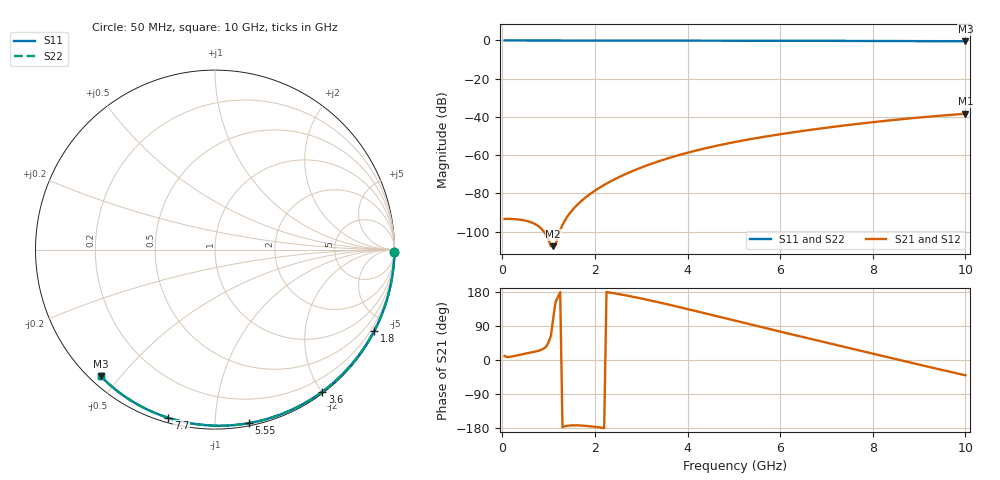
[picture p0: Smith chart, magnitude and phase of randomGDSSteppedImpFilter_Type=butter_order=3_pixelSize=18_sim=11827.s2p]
! freq	dB(S11)	phase(S11)	dB(S12)	phase(S12)
!  dB(S21)	phase(S21)	dB(S22)	phase(S22)
!S-par simulation data
#  GHz  S  DB  R 50
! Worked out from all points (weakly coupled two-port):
!   200 points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, 50 MHz to 10 GHz, reference 50 ohm
!   highest |S21| = -38.35 dB at 10 GHz (marker M1); lowest = -107.7 dB at 1.1 GHz (marker M2)
!   lowest |S11| = -0.4 dB at 10 GHz (marker M3), VSWR 39.19, Z = 1.53 - j22.3 ohm
!   |S11| at or under -10 dB: nowhere
!   |S22| runs from -0.4 to 0.0 dB; largest |S21 - S12| = 0
!   S11 on the Smith chart (normalised r, x): 50 MHz: open; 1.8 GHz: 0.04, -4.16; 3.6 GHz: 0.02, -2.01; 5.55 GHz: 0.02, -1.21; 7.7 GHz: 0.02, -0.76; 10 GHz: 0.03, -0.45
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0.05  -0.00 -0.8  -93.40 10.5  -93.40 10.5  -0.00 -0.7
0.55  -0.01 -8.3  -94.60 18.0  -94.60 18.0  -0.01 -8.3
1.1  -0.02 -16.6  -107.66 109.8  -107.66 109.8  -0.02 -16.6
1.75  -0.03 -26.3  -83.12 -173.3  -83.12 -173.3  -0.03 -26.3
1.8  -0.03 -27.0  -82.12 -173.8  -82.12 -173.8  -0.03 -27.0
1.9  -0.04 -28.5  -80.29 -174.9  -80.29 -174.9  -0.04 -28.5
1.95  -0.04 -29.2  -79.43 -175.6  -79.43 -175.6  -0.04 -29.2
2.25  -0.04 -33.6  -74.91 179.4  -74.91 179.4  -0.04 -33.6
2.55  -0.05 -38.0  -71.17 173.2  -71.17 173.2  -0.05 -38.0
2.95  -0.06 -43.7  -66.98 163.6  -66.98 163.6  -0.06 -43.7
3.4  -0.07 -50.1  -63.05 151.6  -63.05 151.6  -0.07 -50.1
3.6  -0.07 -52.9  -61.51 146.0  -61.51 146.0  -0.07 -52.9
3.9  -0.08 -57.0  -59.41 137.4  -59.41 137.4  -0.08 -57.0
4.3  -0.09 -62.5  -56.92 125.5  -56.92 125.5  -0.09 -62.5
5.05  -0.11 -72.5  -53.02 103.1  -53.02 103.1  -0.11 -72.5
5.55  -0.13 -79.0  -50.84 88.2  -50.84 88.2  -0.13 -79.0
6.1  -0.15 -86.0  -48.71 72.0  -48.71 72.0  -0.15 -86.0
6.7  -0.18 -93.4  -46.64 54.5  -46.64 54.5  -0.18 -93.4
7.7  -0.24 -105.5  -43.59 25.5  -43.59 25.5  -0.24 -105.5
8.35  -0.29 -113.1  -41.86 6.6  -41.86 6.6  -0.29 -113.1
9.15  -0.36 -122.3  -40.00 -16.5  -40.00 -16.5  -0.36 -122.3
10  -0.44 -132.0  -38.35 -40.2  -38.35 -40.2  -0.44 -132.0
